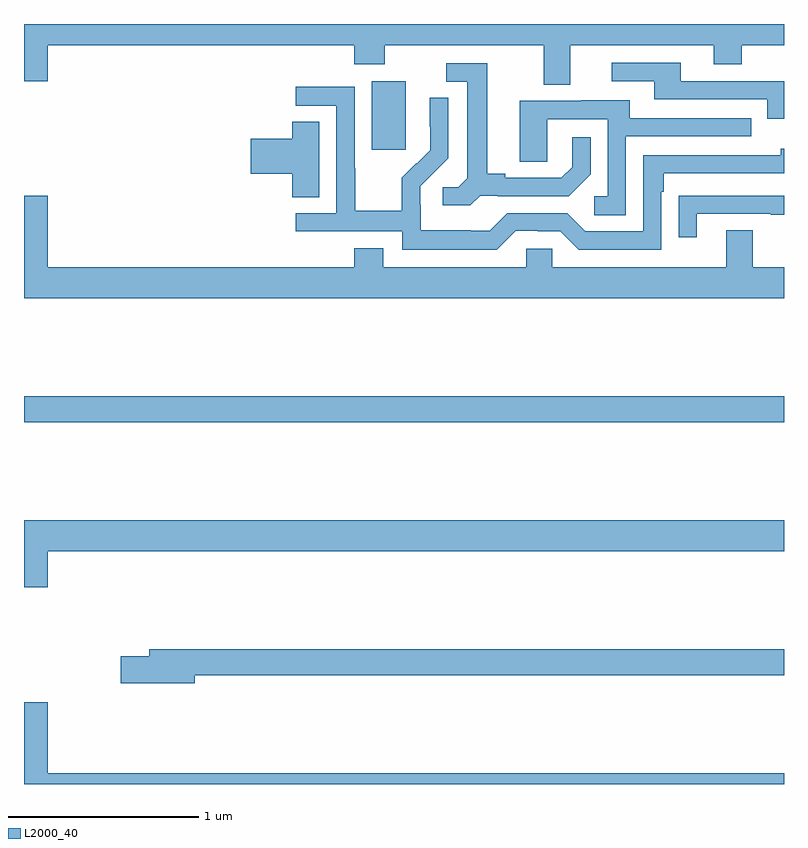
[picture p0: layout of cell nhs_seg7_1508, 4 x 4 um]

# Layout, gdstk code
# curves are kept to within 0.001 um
import gdstk
lib = gdstk.Library(unit=1e-6, precision=1e-09)
def R(c, l, rs):  # rectangles x0, y0, x1, y1
    for r in rs: c.add(gdstk.rectangle(r[:2], r[2:], *l))
def P(c, l, *ps):  # polygons
    for p in ps: c.add(gdstk.Polygon(p, *l))
L2000_40 = (2000, 40)

nhs_seg7_1508 = lib.new_cell('nhs_seg7_1508')
R(nhs_seg7_1508, L2000_40, [(213,1059.904,217,1060.04), (214.829,1061.337,215.008,1061.698)])
P(nhs_seg7_1508, L2000_40, [(215.875,1061.888),(216.629,1061.888),(216.629,1061.789),(216.777,1061.789),(216.777,1061.888),(217,1061.888),(217,1062),(213,1062),(213,1061.7),(213.124,1061.7),(213.124,1061.888),(214.739,1061.888),(214.739,1061.789),(214.899,1061.789),(214.899,1061.888),(215.735,1061.888),(215.735,1061.68),(215.875,1061.68)],
  [(217,1061.7),(216.457,1061.7),(216.457,1061.796),(216.093,1061.796),(216.093,1061.7),(216.317,1061.7),(216.317,1061.604),(216.912,1061.604),(216.912,1061.501),(217,1061.501)],
  [(215.4,1061.097),(215.494,1061.097),(215.494,1061.094),(215.866,1061.094),(215.982,1061.21),(215.982,1061.404),(215.885,1061.404),(215.885,1061.247),(215.828,1061.19),(215.533,1061.19),(215.533,1061.213),(215.437,1061.213),(215.437,1061.793),(215.223,1061.793),(215.223,1061.697),(215.333,1061.697),(215.333,1061.189),(215.286,1061.142),(215.205,1061.142),(215.205,1061.045),(215.348,1061.045)],
  [(215.589,1060.911),(215.705,1060.911),(215.705,1060.908),(215.823,1060.908),(215.919,1060.812),(216.354,1060.812),(216.354,1061.117),(216.367,1061.117),(216.367,1061.214),(217,1061.214),(217,1061.344),(216.983,1061.344),(216.983,1061.31),(216.258,1061.31),(216.258,1060.908),(215.955,1060.908),(215.859,1061.004),(215.544,1061.004),(215.451,1060.911),(215.351,1060.911),(215.351,1060.915),(215.088,1060.915),(215.088,1061.049),(215.086,1061.049),(215.086,1061.146),(215.232,1061.294),(215.232,1061.612),(215.136,1061.612),(215.136,1061.458),(215.138,1061.458),(215.138,1061.336),(215.067,1061.265),(215.064,1061.268),(214.987,1061.191),(214.987,1061.017),(214.743,1061.017),(214.743,1061.24),(214.74,1061.24),(214.74,1061.67),(214.431,1061.67),(214.431,1061.571),(214.644,1061.571),(214.644,1061.004),(214.431,1061.004),(214.431,1060.908),(214.992,1060.908),(214.992,1060.811),(215.489,1060.811)],
  [(216.168,1061.409),(216.827,1061.409),(216.827,1061.505),(216.187,1061.505),(216.187,1061.599),(215.933,1061.599),(215.933,1061.595),(215.609,1061.595),(215.609,1061.275),(215.754,1061.275),(215.754,1061.499),(216.072,1061.499),(216.072,1061.094),(216,1061.094),(216,1060.993),(216.168,1060.993)],
  [(214.555,1061.486),(214.412,1061.486),(214.412,1061.396),(214.194,1061.396),(214.194,1061.213),(214.412,1061.213),(214.412,1061.089),(214.555,1061.089)],
  [(216.541,1061.001),(216.931,1061.001),(216.931,1060.996),(217,1060.996),(217,1061.097),(216.547,1061.097),(216.547,1061.096),(216.445,1061.096),(216.445,1060.878),(216.541,1060.878)],
  [(217,1060.72),(216.835,1060.72),(216.835,1060.915),(216.695,1060.915),(216.695,1060.72),(215.781,1060.72),(215.781,1060.818),(215.643,1060.818),(215.643,1060.72),(214.891,1060.72),(214.891,1060.819),(214.739,1060.819),(214.739,1060.72),(213.124,1060.72),(213.124,1061.095),(213,1061.095),(213,1060.556),(217,1060.556)],
  [(213.124,1059.224),(217,1059.224),(217,1059.388),(213,1059.388),(213,1059.036),(213.124,1059.036)],
  [(213.898,1058.572),(217,1058.572),(217,1058.708),(213.659,1058.708),(213.659,1058.672),(213.51,1058.672),(213.51,1058.53),(213.898,1058.53)],
  [(217,1058.056),(213.124,1058.056),(213.124,1058.431),(213,1058.431),(213,1058),(217,1058)])

lib.write_gds('nhs_seg7_1508.gds')
